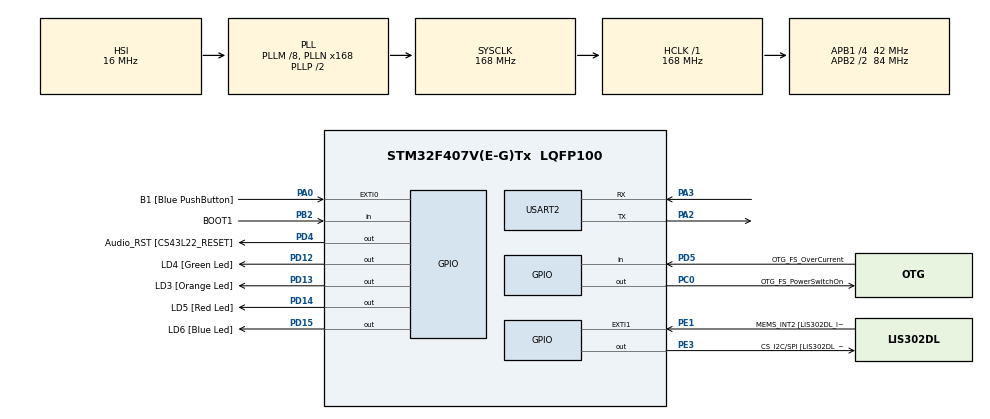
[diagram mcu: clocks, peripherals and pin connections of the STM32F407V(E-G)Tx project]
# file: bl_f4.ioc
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Mcu.Family=STM32F4
Mcu.Name=STM32F407V(E-G)Tx
Mcu.Package=LQFP100
NVIC.PriorityGroup=NVIC_PRIORITYGROUP_0
PA0-WKUP.GPIO_Label=B1 [Blue PushButton]
PA0-WKUP.Signal=GPXTI0
PA10.GPIO_Label=OTG_FS_ID
PA10.GPIO_Mode=GPIO_MODE_AF_PP
PA10.GPIO_PuPd=GPIO_NOPULL
PA10.GPIO_Speed=GPIO_SPEED_FREQ_LOW
PA10.Signal=USB_OTG_FS_ID
PA11.GPIO_Label=OTG_FS_DM
PA11.GPIO_Mode=GPIO_MODE_AF_PP
PA11.GPIO_PuPd=GPIO_NOPULL
PA11.GPIO_Speed=GPIO_SPEED_FREQ_LOW
PA11.Signal=USB_OTG_FS_DM
PA12.GPIO_Label=OTG_FS_DP
PA12.GPIO_Mode=GPIO_MODE_AF_PP
PA12.GPIO_PuPd=GPIO_NOPULL
PA12.GPIO_Speed=GPIO_SPEED_FREQ_LOW
PA12.Signal=USB_OTG_FS_DP
PA13.GPIO_Label=SWDIO
PA13.Signal=SYS_JTMS-SWDIO
PA14.GPIO_Label=SWCLK
PA14.Signal=SYS_JTCK-SWCLK
PA2.Mode=Asynchronous
PA2.Signal=USART2_TX
PA3.Mode=Asynchronous
PA3.Signal=USART2_RX
PA4.GPIO_Label=I2S3_WS [CS43L22_LRCK]
PA4.GPIO_Mode=GPIO_MODE_AF_PP
PA4.GPIO_PuPd=GPIO_NOPULL
PA4.GPIO_Speed=GPIO_SPEED_FREQ_LOW
PA4.Signal=I2S3_WS
PA5.GPIO_Label=SPI1_SCK [LIS302DL_SCL/SPC]
PA5.GPIO_Mode=GPIO_MODE_AF_PP
PA5.GPIO_PuPd=GPIO_NOPULL
PA5.GPIO_Speed=GPIO_SPEED_FREQ_LOW
PA5.Signal=SPI1_SCK
PA6.GPIO_Label=SPI1_MISO [LIS302DL_SDO]
PA6.GPIO_Mode=GPIO_MODE_AF_PP
PA6.GPIO_PuPd=GPIO_NOPULL
PA6.GPIO_Speed=GPIO_SPEED_FREQ_LOW
PA6.Signal=SPI1_MISO
PA7.GPIO_Label=SPI1_MOSI [LIS302DL_SDA/SDI/SDO]
PA7.GPIO_Mode=GPIO_MODE_AF_PP
PA7.GPIO_PuPd=GPIO_NOPULL
PA7.GPIO_Speed=GPIO_SPEED_FREQ_LOW
PA7.Signal=SPI1_MOSI
PA9.GPIO_Label=VBUS_FS
PA9.GPIO_Mode=GPIO_MODE_INPUT
PA9.GPIO_PuPd=GPIO_NOPULL
PA9.Signal=USB_OTG_FS_VBUS
PB10.GPIO_Label=CLK_IN [MP45DT02_CLK]
PB10.GPIO_Mode=GPIO_MODE_AF_PP
PB10.GPIO_PuPd=GPIO_NOPULL
PB10.GPIO_Speed=GPIO_SPEED_FREQ_LOW
PB10.Signal=I2S2_CK
PB2.GPIO_Label=BOOT1
PB2.GPIO_Mode=GPIO_MODE_INPUT
PB2.GPIO_PuPd=GPIO_NOPULL
PB2.Signal=GPIO_Input
PB3.GPIO_Label=SWO
PB3.Signal=SYS_JTDO-SWO
PB6.GPIO_Label=Audio_SCL [CS43L22_SCL]
PB6.GPIO_Mode=GPIO_MODE_AF_OD
PB6.GPIO_PuPd=GPIO_NOPULL
PB6.GPIO_Speed=GPIO_SPEED_FREQ_LOW
PB6.Signal=I2C1_SCL
PB9.GPIO_Label=Audio_SDA [CS43L22_SDA]
PB9.GPIO_Mode=GPIO_MODE_AF_OD
PB9.GPIO_PuPd=GPIO_NOPULL
PB9.GPIO_Speed=GPIO_SPEED_FREQ_LOW
PB9.Signal=I2C1_SDA
PC0.GPIO_Label=OTG_FS_PowerSwitchOn
PC0.GPIO_PuPd=GPIO_NOPULL
PC0.GPIO_Speed=GPIO_SPEED_FREQ_LOW
PC0.PinState=GPIO_PIN_SET
PC0.Signal=GPIO_Output
PC10.GPIO_Label=I2S3_SCK [CS43L22_SCLK]
PC10.GPIO_Mode=GPIO_MODE_AF_PP
PC10.GPIO_PuPd=GPIO_NOPULL
PC10.GPIO_Speed=GPIO_SPEED_FREQ_LOW
PC10.Signal=I2S3_CK
PC12.GPIO_Label=I2S3_SD [CS43L22_SDIN]
PC12.GPIO_Mode=GPIO_MODE_AF_PP
PC12.GPIO_PuPd=GPIO_NOPULL
PC12.GPIO_Speed=GPIO_SPEED_FREQ_LOW
PC12.Signal=I2S3_SD
PC14-OSC32_IN.GPIO_Label=PC14-OSC32_IN
PC14-OSC32_IN.Signal=RCC_OSC32_IN
PC15-OSC32_OUT.GPIO_Label=PC15-OSC32_OUT
PC15-OSC32_OUT.Signal=RCC_OSC32_OUT
PC3.GPIO_Label=PDM_OUT [MP45DT02_DOUT]
PC3.GPIO_Mode=GPIO_MODE_AF_PP
PC3.GPIO_PuPd=GPIO_NOPULL
PC3.GPIO_Speed=GPIO_SPEED_FREQ_LOW
PC3.Signal=I2S2_SD
PC7.GPIO_Label=I2S3_MCK [CS43L22_MCLK]
PC7.GPIO_Mode=GPIO_MODE_AF_PP
PC7.GPIO_PuPd=GPIO_NOPULL
PC7.GPIO_Speed=GPIO_SPEED_FREQ_LOW
PC7.Signal=I2S3_MCK
PD12.GPIO_Label=LD4 [Green Led]
PD12.GPIO_PuPd=GPIO_NOPULL
PD12.GPIO_Speed=GPIO_SPEED_FREQ_LOW
PD12.Signal=GPIO_Output
PD13.GPIO_Label=LD3 [Orange Led]
PD13.GPIO_PuPd=GPIO_NOPULL
PD13.GPIO_Speed=GPIO_SPEED_FREQ_LOW
PD13.Signal=GPIO_Output
PD14.GPIO_Label=LD5 [Red Led]
PD14.GPIO_PuPd=GPIO_NOPULL
PD14.GPIO_Speed=GPIO_SPEED_FREQ_LOW
PD14.Signal=GPIO_Output
PD15.GPIO_Label=LD6 [Blue Led]
PD15.GPIO_PuPd=GPIO_NOPULL
PD15.GPIO_Speed=GPIO_SPEED_FREQ_LOW
PD15.Signal=GPIO_Output
PD4.GPIO_Label=Audio_RST [CS43L22_RESET]
PD4.GPIO_PuPd=GPIO_NOPULL
PD4.GPIO_Speed=GPIO_SPEED_FREQ_LOW
PD4.Signal=GPIO_Output
PD5.GPIO_Label=OTG_FS_OverCurrent
PD5.GPIO_Mode=GPIO_MODE_INPUT
PD5.GPIO_PuPd=GPIO_NOPULL
PD5.Signal=GPIO_Input
PE1.GPIO_Label=MEMS_INT2 [LIS302DL_INT2]
PE1.GPIO_ModeDefaultEXTI=GPIO_MODE_EVT_RISING
PE1.GPIO_PuPd=GPIO_NOPULL
PE1.Signal=GPXTI1
PE3.GPIO_Label=CS_I2C/SPI [LIS302DL_CS_I2C/SPI]
PE3.GPIO_PuPd=GPIO_NOPULL
PE3.GPIO_Speed=GPIO_SPEED_FREQ_LOW
PE3.Signal=GPIO_Output
PH0-OSC_IN.GPIO_Label=PH0-OSC_IN
PH0-OSC_IN.Signal=RCC_OSC_IN
PH1-OSC_OUT.GPIO_Label=PH1-OSC_OUT
PH1-OSC_OUT.Signal=RCC_OSC_OUT
ProjectManager.HeapSize=0x200
ProjectManager.StackSize=0x400
ProjectManager.TargetToolchain=STM32CubeIDE
RCC.48MHZClocksFreq_Value=48000000
RCC.AHBFreq_Value=168000000
RCC.APB1CLKDivider=RCC_HCLK_DIV4
RCC.APB1Freq_Value=42000000
RCC.APB1TimFreq_Value=84000000
RCC.APB2CLKDivider=RCC_HCLK_DIV2
RCC.APB2Freq_Value=84000000
RCC.APB2TimFreq_Value=168000000
RCC.CortexFreq_Value=168000000
RCC.HCLKFreq_Value=168000000
RCC.HSE_VALUE=8000000
RCC.HSI_VALUE=16000000
RCC.LSE_VALUE=32768
RCC.PLLM=8
RCC.PLLN=168
RCC.PLLQ=7
RCC.SYSCLKFreq_VALUE=168000000
RCC.SYSCLKSource=RCC_SYSCLKSOURCE_PLLCLK
RCC.VCOOutputFreq_Value=336000000
USART2.VirtualMode=VM_ASYNC
VP_CRC_VS_CRC.Mode=CRC_Activate
board=STM32F407G-DISC1

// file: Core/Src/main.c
/* USER CODE BEGIN Header */
/**
 ******************************************************************************
 * @file           : main.c
 * @brief          : Main program body
 ******************************************************************************
 * @attention
 *
 * Copyright (c) 2024 STMicroelectronics.
 * All rights reserved.
 *
 * This software is licensed under terms that can be found in the LICENSE file
 * in the root directory of this software component.
 * If no LICENSE file comes with this software, it is provided AS-IS.
 *
 ******************************************************************************
 */
/* USER CODE END Header */
#include "main.h"

/* USER CODE BEGIN Includes */
#define __STDC_WANT_LIB_EXT2__ 1
#include <stdarg.h>
#include <string.h>
#include <stdio.h>

/* USER CODE END Includes */

CRC_HandleTypeDef hcrc;

UART_HandleTypeDef huart2;

void SystemClock_Config(void);
static void MX_GPIO_Init(void);
static void MX_CRC_Init(void);
static void MX_USART2_UART_Init(void);
/* USER CODE BEGIN PFP */
void printk(char *format, ...);
uint16_t get_mcu_chip_id(void);
uint8_t get_flash_rdp_level(void);
uint8_t verify_address(uint32_t go_address);
uint8_t execute_flash_erase(uint8_t sector_number, uint8_t number_of_sectors);

/* USER CODE END PFP */

/* USER CODE BEGIN 0 */
#define BL_RX_LEN 200
uint8_t bl_rx_buffer[BL_RX_LEN];
uint8_t supported_commands[] = {
		BL_GET_VER,
		BL_GET_HELP,
		BL_GET_CID,
		BL_GET_RDP_STATUS,
		BL_GO_TO_ADDR,
		BL_FLASH_ERASE,
		BL_MEM_WRITE,
		BL_READ_SECTOR_STATUS
};

/* USER CODE END 0 */

int main(void) {

	/* MCU Configuration--------------------------------------------------------*/

	/* Reset of all peripherals, Initializes the Flash interface and the Systick. */
	HAL_Init();

	/* Configure the system clock */
	SystemClock_Config();

	/* Initialize all configured peripherals */
	MX_GPIO_Init();
	MX_CRC_Init();
	MX_USART2_UART_Init();

	/* Infinite loop */
	/* USER CODE BEGIN WHILE */
	/* Infinite loop */
	if (HAL_GPIO_ReadPin(GPIOA, GPIO_PIN_0) == GPIO_PIN_SET) {
		printk("LOADER_DEBUG_MSG: Button is pressed ... going to BL mode\n\r");

		bootloader_uart_read_data();
	} else {
		printk(
				"LOADER_DEBUG_MSG: Button is not pressed ... going to App mode\n\r");

		bootloader_jump_to_user_app();

	}
	/* USER CODE END 3 */
}

/** Bootloader handlers **/
void bootloader_send_nack(void) {
	//lets send an nack byte
	uint8_t nack = BL_NACK;
	HAL_UART_Transmit(&huart2, &nack, 1, HAL_MAX_DELAY);
}

void bootloader_send_ack(uint8_t command_code, uint8_t follow_len) {
	//lets send an ack byte as well as confirm the len we got
	uint8_t ack_buf[2];
	ack_buf[0] = BL_ACK;
	ack_buf[1] = follow_len;
	HAL_UART_Transmit(&huart2, ack_buf, 2, HAL_MAX_DELAY);
}
uint8_t bootloader_verify_crc(uint8_t *pData, uint32_t len, uint32_t crc_host) {
	uint32_t uwCRCValue = 0xff;
	for (uint32_t i = 0; i < len; i++) {
		uint32_t i_data = pData[i];
		uwCRCValue = HAL_CRC_Accumulate(&hcrc, &i_data, 1);
	}
	if (uwCRCValue == crc_host) {
		return VERIFY_CRC_SUCCESS;
	}

	return VERIFY_CRC_FAIL;
}
void bootloader_uart_write_data(uint8_t *pBuffer, uint32_t len) {
	HAL_UART_Transmit(&huart2, pBuffer, len, HAL_MAX_DELAY);
}
uint8_t get_bootloader_version(void) {
	uint8_t version = 0x8D;
	return version;
}
void bootloader_handle_getver_cmd(uint8_t *bl_rx_buffer) {
	uint8_t bl_version;
	//verify checksum of command
	//printk("LOADER_DEBUG_MSG: Handling GET_VER_COMMAND \r\n");

	//length of our packet
	uint32_t command_packet_len = bl_rx_buffer[0] + 1;

	//extract crc from frame
	uint32_t host_crc = *((uint32_t*) (bl_rx_buffer + command_packet_len - 4));

	if (!bootloader_verify_crc(&bl_rx_buffer[0], command_packet_len - 4,
			host_crc)) {
		//printk("LOADER_DEBUG_MSG: checksum success! \r\n");
		//Correct crc
		bootloader_send_ack(bl_rx_buffer[0], 1);
		bl_version = get_bootloader_version();
		//printk("LOADER_DEBUG_MSG: BL_VER : %d %#x \r\n", bl_version,bl_version);
		bootloader_uart_write_data(&bl_version, 1);
	} else {
		//Bad checksum NACK
		printk("LOADER_DEBUG_MSG: checksum fail !c \r\n");
		bootloader_send_nack();

	}
}
void bootloader_handle_gethelp_cmd(uint8_t *bl_rx_buffer) {
		//verify checksum of command
		//printk("LOADER_DEBUG_MSG: Handling GET_VER_COMMAND \r\n");

		//length of our packet
		uint32_t command_packet_len = bl_rx_buffer[0] + 1;

		//extract crc from frame
		uint32_t host_crc = *((uint32_t*) (bl_rx_buffer + command_packet_len - 4));

		if (!bootloader_verify_crc(&bl_rx_buffer[0], command_packet_len - 4,
				host_crc)) {
			//printk("LOADER_DEBUG_MSG: checksum success! \r\n");
			//Correct crc
			bootloader_send_ack(bl_rx_buffer[0], sizeof(supported_commands));
			//printk("LOADER_DEBUG_MSG: BL_VER : %d %#x \r\n", bl_version,bl_version);
			bootloader_uart_write_data(supported_commands, sizeof(supported_commands));
		} else {
			//Bad checksum NACK
			printk("LOADER_DEBUG_MSG: checksum fail !c \r\n");
			bootloader_send_nack();

		}
}

uint16_t get_mcu_chip_id(void){
	//Get CHIPID from DBMCU registers
	uint16_t cid;
	//use a mask to read only the 12 lower bits of IDCODE
	cid = (uint16_t) (DBGMCU->IDCODE) & 0x0FFF;
	return cid;
}
void bootloader_handle_getcid_cmd(uint8_t *bl_rx_buffer) {
	uint16_t bl_cid_num = 0;
	//verify checksum of command
	//printk("LOADER_DEBUG_MSG: Handling GET_VER_COMMAND \r\n");

	//length of our packet
	uint32_t command_packet_len = bl_rx_buffer[0] + 1;

	//extract crc from frame
	uint32_t host_crc = *((uint32_t*) (bl_rx_buffer + command_packet_len - 4));

	if (!bootloader_verify_crc(&bl_rx_buffer[0], command_packet_len - 4,
			host_crc)) {
		//printk("LOADER_DEBUG_MSG: checksum success! \r\n");
		//Correct crc
		bootloader_send_ack(bl_rx_buffer[0], 2);
		bl_cid_num = get_mcu_chip_id();
		//printk("LOADER_DEBUG_MSG: BL_VER : %d %#x \r\n", bl_version,bl_version);
		bootloader_uart_write_data((uint8_t *)&bl_cid_num, 2);
	} else {
		//Bad checksum NACK
		printk("LOADER_DEBUG_MSG: checksum fail !c \r\n");
		bootloader_send_nack();

	}

}

uint8_t get_flash_rdp_level(void)
{
	uint8_t rdp_status  = 0;

	volatile uint32_t *pOB_addr = (uint32_t *) 0x1FFFC000;

	rdp_status = (uint8_t)(*pOB_addr >> 8);

	return rdp_status;
}

void bootloader_handle_getrdp_cmd(uint8_t *bl_rx_buffer) {
	uint8_t rdp_level = 0x00;
	//verify checksum of command
	//printk("LOADER_DEBUG_MSG: Handling GET_VER_COMMAND \r\n");

	//length of our packet
	uint32_t command_packet_len = bl_rx_buffer[0] + 1;

	//extract crc from frame
	uint32_t host_crc = *((uint32_t*) (bl_rx_buffer + command_packet_len - 4));

	if (!bootloader_verify_crc(&bl_rx_buffer[0], command_packet_len - 4,
			host_crc)) {
		//printk("LOADER_DEBUG_MSG: checksum success! \r\n");
		//Correct crc
		bootloader_send_ack(bl_rx_buffer[0], 1);
		rdp_level = get_flash_rdp_level();
		//printk("LOADER_DEBUG_MSG: BL_VER : %d %#x \r\n", bl_version,bl_version);
		bootloader_uart_write_data(&rdp_level, 1);
	} else {
		//Bad checksum NACK
		printk("LOADER_DEBUG_MSG: checksum fail !c \r\n");
		bootloader_send_nack();

	}

}

uint8_t verify_address(uint32_t go_address){
	if (go_address >= SRAM1_BASE && go_address <= SRAM1_END) {
		return ADDR_VALID;
	} else if (go_address >= SRAM2_BASE && go_address <= SRAM2_END) {
		return ADDR_VALID;
	} else if (go_address >= FLASH_BASE && go_address <= FLASH_END) {
		return ADDR_VALID;
	} else if (go_address >= BKPSRAM_BASE && go_address <= BKPSRAM_END) {
		return ADDR_VALID;
	} else
		return ADDR_INVALID;

}

void bootloader_handle_go_cmd(uint8_t *bl_rx_buffer) {
	uint32_t go_address = 0;
	uint8_t addr_valid = ADDR_VALID;
	uint8_t addr_invalid = ADDR_INVALID;

	//length of our packet
	uint32_t command_packet_len = bl_rx_buffer[0] + 1;

	//extract crc from frame
	uint32_t host_crc = *((uint32_t*) (bl_rx_buffer + command_packet_len - 4));

	if (!bootloader_verify_crc(&bl_rx_buffer[0], command_packet_len - 4,
			host_crc)) {
		//printk("LOADER_DEBUG_MSG: checksum success! \r\n");
		//Correct crc
		bootloader_send_ack(bl_rx_buffer[0], 1);
		go_address = *((uint32_t *)&bl_rx_buffer[2]);
		if(verify_address(go_address) == ADDR_VALID)
		{
			//let host know all is well
			bootloader_uart_write_data(&addr_valid, 1);
			// Set the stack pointer
			__set_MSP(*((uint32_t*) go_address));
			// Get the reset handler address
			uint32_t jump_address = *((volatile uint32_t*) (go_address + 4));
			void (*reset_handler)(void) = (void*) jump_address;

			// Jump to the reset handler
			reset_handler();

		} else {
			bootloader_uart_write_data(&addr_invalid, 1);
		}

	} else {
		//Bad checksum NACK
		printk("LOADER_DEBUG_MSG: checksum fail !c \r\n");
		bootloader_send_nack();

	}

}

uint8_t execute_flash_erase(uint8_t sector_number, uint8_t number_of_sectors)
{
	FLASH_EraseInitTypeDef flasherase_handle;
	uint32_t sectorError;
	HAL_StatusTypeDef status;

	if(number_of_sectors > 8)
		return INVALID_SECTOR;
	if((sector_number == 0xff) ||  (sector_number <= 7))
	{
		if(sector_number == (uint8_t) 0xff)
		{
			flasherase_handle.TypeErase = FLASH_TYPEERASE_MASSERASE;
		}else {
			uint8_t remaining_sector = 8 - sector_number;
			if(number_of_sectors > remaining_sector)
			{
				number_of_sectors = remaining_sector;
			}
			flasherase_handle.TypeErase = FLASH_TYPEERASE_SECTORS;
			flasherase_handle.Sector = sector_number;
			flasherase_handle.NbSectors = number_of_sectors;
		}
		flasherase_handle.Banks = FLASH_BANK_1;
		HAL_FLASH_Unlock();
		flasherase_handle.VoltageRange = FLASH_VOLTAGE_RANGE_3;
		status = (uint8_t) HAL_FLASHEx_Erase(&flasherase_handle, &sectorError);
		HAL_FLASH_Lock();

		return status;
	}

	return INVALID_SECTOR;

}
void bootloader_handle_flash_erase_cmd(uint8_t *bl_rx_buffer) {
	uint8_t erase_status = 0x00;
	//verify checksum of command
	//printk("LOADER_DEBUG_MSG: Handling GET_VER_COMMAND \r\n");

	//length of our packet
	uint32_t command_packet_len = bl_rx_buffer[0] + 1;

	//extract crc from frame
	uint32_t host_crc = *((uint32_t*) (bl_rx_buffer + command_packet_len - 4));

	if (!bootloader_verify_crc(&bl_rx_buffer[0], command_packet_len - 4,
			host_crc)) {
		bootloader_send_ack(bl_rx_buffer[0], 1);
		//printk("LOADER_DEBUG_MSG: checksum success! \r\n");
		HAL_GPIO_WritePin(GPIOD, GPIO_PIN_15, 1);
		HAL_Delay(100);
		erase_status = execute_flash_erase(bl_rx_buffer[2], bl_rx_buffer[3]);
		HAL_GPIO_WritePin(GPIOD, GPIO_PIN_15, 0);
		bootloader_uart_write_data(&erase_status, 1);
	} else {
		//Bad checksum NACK
		printk("LOADER_DEBUG_MSG: checksum fail !c \r\n");
		bootloader_send_nack();

	}

}

uint8_t execute_mem_write(uint8_t *pBuffer, uint32_t mem_address, uint32_t len)
{
	uint8_t status = HAL_OK;

	HAL_FLASH_Unlock();

	for(uint32_t i = 0; i < len; i ++)
	{
		status = HAL_FLASH_Program(FLASH_TYPEPROGRAM_BYTE, mem_address+i, pBuffer[i]);
	}

	HAL_FLASH_Lock();
	return status;
}

void bootloader_handle_mem_write_cmd(uint8_t *bl_rx_buffer) {

	uint8_t write_status = 0x00;
	uint8_t payload_len = bl_rx_buffer[6];
	uint32_t mem_address = *((uint32_t *)(&bl_rx_buffer[2]));

	//length of our packet
	uint32_t command_packet_len = bl_rx_buffer[0] + 1;

	//extract crc from frame
	uint32_t host_crc = *((uint32_t*) (bl_rx_buffer + command_packet_len - 4));

	if (!bootloader_verify_crc(&bl_rx_buffer[0], command_packet_len - 4,
			host_crc)) {
		bootloader_send_ack(bl_rx_buffer[0], 1);
		//printk("LOADER_DEBUG_MSG: checksum success! \r\n");
		HAL_GPIO_WritePin(GPIOD, GPIO_PIN_12, 1);
		if(verify_address(mem_address) == ADDR_VALID){
		HAL_Delay(100);
		write_status = execute_mem_write(&bl_rx_buffer[7], mem_address, payload_len);
		HAL_GPIO_WritePin(GPIOD, GPIO_PIN_12, 0);
		bootloader_uart_write_data(&write_status, 1);
		}
		else {
			write_status = ADDR_INVALID;
			bootloader_uart_write_data(&write_status, 1);
		}
	} else {
		//Bad checksum NACK
		printk("LOADER_DEBUG_MSG: checksum fail !c \r\n");
		bootloader_send_nack();

	}

}
void bootloader_handle_endis_rw_protect(uint8_t *bl_rx_buffer) {
}
void bootloader_handle_mem_read(uint8_t *bl_rx_buffer) {
}
void bootloader_handle_read_sector_status(uint8_t *bl_rx_buffer) {
}
void bootloader_handle_read_otp(uint8_t *bl_rx_buffer) {
}

/** END Bootloader handlers **/

void bootloader_uart_read_data(void) {
	//printk("Bootloader waiting for data \r\n");
	//Read commands from host
	uint8_t rec_len = 0;

	while (1) {
		memset(bl_rx_buffer, 0, 200);

		// Now read and decode commands from host
		HAL_UART_Receive(&huart2, bl_rx_buffer, 1, HAL_MAX_DELAY);
		rec_len = bl_rx_buffer[0];
		//printk("Bootloader got len %d \r\n", rec_len);
		HAL_UART_Receive(&huart2, &bl_rx_buffer[1], rec_len, HAL_MAX_DELAY);
		switch (bl_rx_buffer[1]) {
		case BL_GET_VER:
			bootloader_handle_getver_cmd(bl_rx_buffer);
			break;
		case BL_GET_HELP:
			bootloader_handle_gethelp_cmd(bl_rx_buffer);
			break;
		case BL_GET_CID:
			bootloader_handle_getcid_cmd(bl_rx_buffer);
			break;
		case BL_GET_RDP_STATUS:
			bootloader_handle_getrdp_cmd(bl_rx_buffer);
			break;
		case BL_GO_TO_ADDR:
			bootloader_handle_go_cmd(bl_rx_buffer);
			break;
		case BL_FLASH_ERASE:
			bootloader_handle_flash_erase_cmd(bl_rx_buffer);
			break;
		case BL_MEM_WRITE:
			bootloader_handle_mem_write_cmd(bl_rx_buffer);
			break;
		default:
			printk("LOADER_ERROR_MSG: Invalid command from host: %#n \r\n",
					bl_rx_buffer[1]);
			break;
		}
	}

}

//fetch user application reset handler
static volatile uint32_t resethandler_address = (FLASH_SECTOR2_BASE_ADDRESS + 4);
static volatile void (*app_reset_handler)(void);

/*
 * Function to jump to user application
 */
void bootloader_jump_to_user_app(void) {
	//function pointer to user app reset handler

	printk("LOADER_DEBUG_MSG: Bootloader now jumping to user app \r\n");

	//get new MSP value for user app
	volatile uint32_t msp_value = *(uint32_t*) (FLASH_SECTOR2_BASE_ADDRESS);
	printk("LOADER_DEBUG_MSG: MSP for user app : %#x \r\n", msp_value);

	//use CMSIS to move MSP
	__set_MSP(msp_value);

	app_reset_handler = (void*) *(volatile uint32_t*) resethandler_address;

	printk(
			"LOADER_DEBUG_MSG: app reset handler is now : %#x -> Proceeding with jump\r\n",
			app_reset_handler);

	// Invoke user app reset handler
	app_reset_handler();

}

/*Formatted message over uart*/
void printk(char *format, ...) {
	char str[80];

	/*Extrack Argument list using VA apis*/
	va_list args;
	va_start(args, format);
	vsprintf(str, format, args);
	HAL_UART_Transmit(&huart2, (uint8_t*) str, strlen(str), HAL_MAX_DELAY);
}

void SystemClock_Config(void) {
	RCC_OscInitTypeDef RCC_OscInitStruct = { 0 };
	RCC_ClkInitTypeDef RCC_ClkInitStruct = { 0 };

	/** Configure the main internal regulator output voltage
	 */
	__HAL_RCC_PWR_CLK_ENABLE();
	__HAL_PWR_VOLTAGESCALING_CONFIG(PWR_REGULATOR_VOLTAGE_SCALE1);

	/** Initializes the RCC Oscillators according to the specified parameters
	 * in the RCC_OscInitTypeDef structure.
	 */
	RCC_OscInitStruct.OscillatorType = RCC_OSCILLATORTYPE_HSI;
	RCC_OscInitStruct.HSIState = RCC_HSI_ON;
	RCC_OscInitStruct.HSICalibrationValue = RCC_HSICALIBRATION_DEFAULT;
	RCC_OscInitStruct.PLL.PLLState = RCC_PLL_ON;
	RCC_OscInitStruct.PLL.PLLSource = RCC_PLLSOURCE_HSI;
	RCC_OscInitStruct.PLL.PLLM = 8;
	RCC_OscInitStruct.PLL.PLLN = 168;
	RCC_OscInitStruct.PLL.PLLP = RCC_PLLP_DIV2;
	RCC_OscInitStruct.PLL.PLLQ = 7;
	if (HAL_RCC_OscConfig(&RCC_OscInitStruct) != HAL_OK) {
		Error_Handler();
	}

	/** Initializes the CPU, AHB and APB buses clocks
	 */
	RCC_ClkInitStruct.ClockType = RCC_CLOCKTYPE_HCLK | RCC_CLOCKTYPE_SYSCLK
			| RCC_CLOCKTYPE_PCLK1 | RCC_CLOCKTYPE_PCLK2;
	RCC_ClkInitStruct.SYSCLKSource = RCC_SYSCLKSOURCE_PLLCLK;
	RCC_ClkInitStruct.AHBCLKDivider = RCC_SYSCLK_DIV1;
	RCC_ClkInitStruct.APB1CLKDivider = RCC_HCLK_DIV4;
	RCC_ClkInitStruct.APB2CLKDivider = RCC_HCLK_DIV2;

	if (HAL_RCC_ClockConfig(&RCC_ClkInitStruct, FLASH_LATENCY_5) != HAL_OK) {
		Error_Handler();
	}
}

static void MX_CRC_Init(void) {

	hcrc.Instance = CRC;
	if (HAL_CRC_Init(&hcrc) != HAL_OK) {
		Error_Handler();
	}

}

static void MX_USART2_UART_Init(void) {

	huart2.Instance = USART2;
	huart2.Init.BaudRate = 115200;
	huart2.Init.WordLength = UART_WORDLENGTH_8B;
	huart2.Init.StopBits = UART_STOPBITS_1;
	huart2.Init.Parity = UART_PARITY_NONE;
	huart2.Init.Mode = UART_MODE_TX_RX;
	huart2.Init.HwFlowCtl = UART_HWCONTROL_NONE;
	huart2.Init.OverSampling = UART_OVERSAMPLING_16;
	if (HAL_UART_Init(&huart2) != HAL_OK) {
		Error_Handler();
	}

}

static void MX_GPIO_Init(void) {
	GPIO_InitTypeDef GPIO_InitStruct = { 0 };

	/* GPIO Ports Clock Enable */
	__HAL_RCC_GPIOE_CLK_ENABLE();
	__HAL_RCC_GPIOC_CLK_ENABLE();
	__HAL_RCC_GPIOH_CLK_ENABLE();
	__HAL_RCC_GPIOA_CLK_ENABLE();
	__HAL_RCC_GPIOB_CLK_ENABLE();
	__HAL_RCC_GPIOD_CLK_ENABLE();

	/*Configure GPIO pin Output Level */
	HAL_GPIO_WritePin(CS_I2C_SPI_GPIO_Port, CS_I2C_SPI_Pin, GPIO_PIN_RESET);

	/*Configure GPIO pin Output Level */
	HAL_GPIO_WritePin(OTG_FS_PowerSwitchOn_GPIO_Port, OTG_FS_PowerSwitchOn_Pin,
			GPIO_PIN_SET);

	/*Configure GPIO pin Output Level */
	HAL_GPIO_WritePin(GPIOD,
			LD4_Pin | LD3_Pin | LD5_Pin | LD6_Pin | Audio_RST_Pin,
			GPIO_PIN_RESET);

	/*Configure GPIO pin : CS_I2C_SPI_Pin */
	GPIO_InitStruct.Pin = CS_I2C_SPI_Pin;
	GPIO_InitStruct.Mode = GPIO_MODE_OUTPUT_PP;
	GPIO_InitStruct.Pull = GPIO_NOPULL;
	GPIO_InitStruct.Speed = GPIO_SPEED_FREQ_LOW;
	HAL_GPIO_Init(CS_I2C_SPI_GPIO_Port, &GPIO_InitStruct);

	/*Configure GPIO pin : OTG_FS_PowerSwitchOn_Pin */
	GPIO_InitStruct.Pin = OTG_FS_PowerSwitchOn_Pin;
	GPIO_InitStruct.Mode = GPIO_MODE_OUTPUT_PP;
	GPIO_InitStruct.Pull = GPIO_NOPULL;
	GPIO_InitStruct.Speed = GPIO_SPEED_FREQ_LOW;
	HAL_GPIO_Init(OTG_FS_PowerSwitchOn_GPIO_Port, &GPIO_InitStruct);

	/*Configure GPIO pin : PDM_OUT_Pin */
	GPIO_InitStruct.Pin = PDM_OUT_Pin;
	GPIO_InitStruct.Mode = GPIO_MODE_AF_PP;
	GPIO_InitStruct.Pull = GPIO_NOPULL;
	GPIO_InitStruct.Speed = GPIO_SPEED_FREQ_LOW;
	GPIO_InitStruct.Alternate = GPIO_AF5_SPI2;
	HAL_GPIO_Init(PDM_OUT_GPIO_Port, &GPIO_InitStruct);

	/*Configure GPIO pin : B1_Pin */
	GPIO_InitStruct.Pin = B1_Pin;
	GPIO_InitStruct.Mode = GPIO_MODE_IT_RISING;
	GPIO_InitStruct.Pull = GPIO_NOPULL;
	HAL_GPIO_Init(B1_GPIO_Port, &GPIO_InitStruct);

	/*Configure GPIO pin : I2S3_WS_Pin */
	GPIO_InitStruct.Pin = I2S3_WS_Pin;
	GPIO_InitStruct.Mode = GPIO_MODE_AF_PP;
	GPIO_InitStruct.Pull = GPIO_NOPULL;
	GPIO_InitStruct.Speed = GPIO_SPEED_FREQ_LOW;
	GPIO_InitStruct.Alternate = GPIO_AF6_SPI3;
	HAL_GPIO_Init(I2S3_WS_GPIO_Port, &GPIO_InitStruct);

	/*Configure GPIO pins : SPI1_SCK_Pin SPI1_MISO_Pin SPI1_MOSI_Pin */
	GPIO_InitStruct.Pin = SPI1_SCK_Pin | SPI1_MISO_Pin | SPI1_MOSI_Pin;
	GPIO_InitStruct.Mode = GPIO_MODE_AF_PP;
	GPIO_InitStruct.Pull = GPIO_NOPULL;
	GPIO_InitStruct.Speed = GPIO_SPEED_FREQ_LOW;
	GPIO_InitStruct.Alternate = GPIO_AF5_SPI1;
	HAL_GPIO_Init(GPIOA, &GPIO_InitStruct);

	/*Configure GPIO pin : BOOT1_Pin */
	GPIO_InitStruct.Pin = BOOT1_Pin;
	GPIO_InitStruct.Mode = GPIO_MODE_INPUT;
	GPIO_InitStruct.Pull = GPIO_NOPULL;
	HAL_GPIO_Init(BOOT1_GPIO_Port, &GPIO_InitStruct);

	/*Configure GPIO pin : CLK_IN_Pin */
	GPIO_InitStruct.Pin = CLK_IN_Pin;
	GPIO_InitStruct.Mode = GPIO_MODE_AF_PP;
	GPIO_InitStruct.Pull = GPIO_NOPULL;
	GPIO_InitStruct.Speed = GPIO_SPEED_FREQ_LOW;
	GPIO_InitStruct.Alternate = GPIO_AF5_SPI2;
	HAL_GPIO_Init(CLK_IN_GPIO_Port, &GPIO_InitStruct);

	/*Configure GPIO pins : LD4_Pin LD3_Pin LD5_Pin LD6_Pin
	 Audio_RST_Pin */
	GPIO_InitStruct.Pin = LD4_Pin | LD3_Pin | LD5_Pin | LD6_Pin | Audio_RST_Pin;
	GPIO_InitStruct.Mode = GPIO_MODE_OUTPUT_PP;
	GPIO_InitStruct.Pull = GPIO_NOPULL;
	GPIO_InitStruct.Speed = GPIO_SPEED_FREQ_LOW;
	HAL_GPIO_Init(GPIOD, &GPIO_InitStruct);

	/*Configure GPIO pins : I2S3_MCK_Pin I2S3_SCK_Pin I2S3_SD_Pin */
	GPIO_InitStruct.Pin = I2S3_MCK_Pin | I2S3_SCK_Pin | I2S3_SD_Pin;
	GPIO_InitStruct.Mode = GPIO_MODE_AF_PP;
	GPIO_InitStruct.Pull = GPIO_NOPULL;
	GPIO_InitStruct.Speed = GPIO_SPEED_FREQ_LOW;
	GPIO_InitStruct.Alternate = GPIO_AF6_SPI3;
	HAL_GPIO_Init(GPIOC, &GPIO_InitStruct);

	/*Configure GPIO pin : VBUS_FS_Pin */
	GPIO_InitStruct.Pin = VBUS_FS_Pin;
	GPIO_InitStruct.Mode = GPIO_MODE_INPUT;
	GPIO_InitStruct.Pull = GPIO_NOPULL;
	HAL_GPIO_Init(VBUS_FS_GPIO_Port, &GPIO_InitStruct);

	/*Configure GPIO pins : OTG_FS_ID_Pin OTG_FS_DM_Pin OTG_FS_DP_Pin */
	GPIO_InitStruct.Pin = OTG_FS_ID_Pin | OTG_FS_DM_Pin | OTG_FS_DP_Pin;
	GPIO_InitStruct.Mode = GPIO_MODE_AF_PP;
	GPIO_InitStruct.Pull = GPIO_NOPULL;
	GPIO_InitStruct.Speed = GPIO_SPEED_FREQ_LOW;
	GPIO_InitStruct.Alternate = GPIO_AF10_OTG_FS;
	HAL_GPIO_Init(GPIOA, &GPIO_InitStruct);

	/*Configure GPIO pin : OTG_FS_OverCurrent_Pin */
	GPIO_InitStruct.Pin = OTG_FS_OverCurrent_Pin;
	GPIO_InitStruct.Mode = GPIO_MODE_INPUT;
	GPIO_InitStruct.Pull = GPIO_NOPULL;
	HAL_GPIO_Init(OTG_FS_OverCurrent_GPIO_Port, &GPIO_InitStruct);

	/*Configure GPIO pins : Audio_SCL_Pin Audio_SDA_Pin */
	GPIO_InitStruct.Pin = Audio_SCL_Pin | Audio_SDA_Pin;
	GPIO_InitStruct.Mode = GPIO_MODE_AF_OD;
	GPIO_InitStruct.Pull = GPIO_NOPULL;
	GPIO_InitStruct.Speed = GPIO_SPEED_FREQ_LOW;
	GPIO_InitStruct.Alternate = GPIO_AF4_I2C1;
	HAL_GPIO_Init(GPIOB, &GPIO_InitStruct);

	/*Configure GPIO pin : MEMS_INT2_Pin */
	GPIO_InitStruct.Pin = MEMS_INT2_Pin;
	GPIO_InitStruct.Mode = GPIO_MODE_EVT_RISING;
	GPIO_InitStruct.Pull = GPIO_NOPULL;
	HAL_GPIO_Init(MEMS_INT2_GPIO_Port, &GPIO_InitStruct);

}

void Error_Handler(void) {
	__disable_irq();
	while (1) {
	}
}
